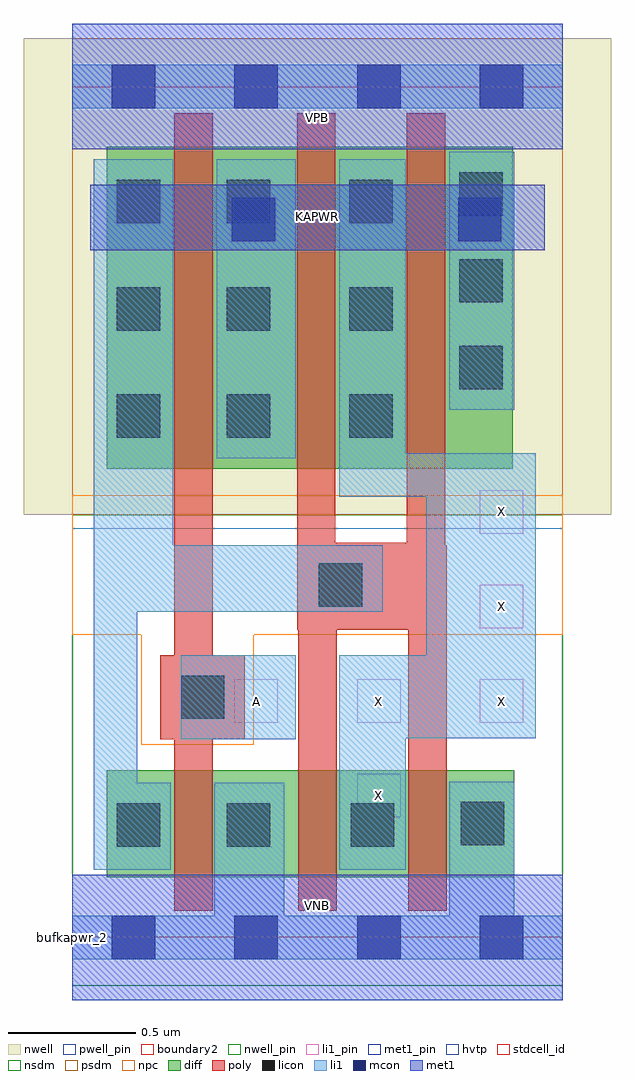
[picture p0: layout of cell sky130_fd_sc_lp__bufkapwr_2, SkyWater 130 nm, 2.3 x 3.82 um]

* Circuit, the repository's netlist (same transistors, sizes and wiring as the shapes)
* Copyright 2020 The SkyWater PDK Authors
*
* Licensed under the Apache License, Version 2.0 (the "License");
* you may not use this file except in compliance with the License.
* You may obtain a copy of the License at
*
*     https://www.apache.org/licenses/LICENSE-2.0
*
* Unless required by applicable law or agreed to in writing, software
* distributed under the License is distributed on an "AS IS" BASIS,
* WITHOUT WARRANTIES OR CONDITIONS OF ANY KIND, either express or implied.
* See the License for the specific language governing permissions and
* limitations under the License.
*
* SPDX-License-Identifier: Apache-2.0

.SUBCKT sky130_fd_sc_lp__bufkapwr_2 A KAPWR VGND VNB VPB VPWR X
*.PININFO A:I KAPWR:I VGND:I VNB:I VPB:I VPWR:I X:O
MMIN0 Ab A VGND VNB sky130_fd_pr__nfet_01v8 m=1 w=0.42U l=0.15U mult=1 sa=0.265
+ sb=0.265 sd=0.28 area=0.063 perim=1.14
MMIN1 X Ab VGND VNB sky130_fd_pr__nfet_01v8 m=2 w=0.42U l=0.15U mult=1 sa=0.265
+ sb=0.265 sd=0.28 area=0.063 perim=1.14
MMIP0 Ab A KAPWR VPB sky130_fd_pr__pfet_01v8_hvt m=1 w=1.26U l=0.15U mult=1 sa=0.265
+ sb=0.265 sd=0.28 area=0.063 perim=1.14
MMIP1 X Ab KAPWR VPB sky130_fd_pr__pfet_01v8_hvt m=2 w=1.26U l=0.15U mult=1 sa=0.265
+ sb=0.265 sd=0.28 area=0.063 perim=1.14
.ENDS sky130_fd_sc_lp__bufkapwr_2

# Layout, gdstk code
import gdstk
lib = gdstk.Library(unit=1e-6, precision=1e-09)
def R(c, l, rs):  # rectangles x0, y0, x1, y1
    for r in rs: c.add(gdstk.rectangle(r[:2], r[2:], *l))
def A(c, l, x, y, w, h, nx, ny, dx, dy):  # array of equal rectangles
    R(c, l, [(x+i*dx, y+j*dy, x+i*dx+w, y+j*dy+h) for i in range(nx) for j in range(ny)])
def P(c, l, *ps):  # polygons
    for p in ps: c.add(gdstk.Polygon(p, *l))
nwell_pin = (64, 16)
nwell = (64, 20)
diff = (65, 20)
poly = (66, 20)
licon = (66, 44)
li1_pin = (67, 16)
li1 = (67, 20)
mcon = (67, 44)
met1_pin = (68, 16)
met1 = (68, 20)
hvtp = (78, 44)
stdcell_id = (81, 4)
nsdm = (93, 44)
psdm = (94, 20)
npc = (95, 20)
pwell_pin = (122, 16)
boundary2 = (236, 0)

sky130_fd_sc_lp__bufkapw = lib.new_cell('sky130_fd_sc_lp__bufkapwr_2')
R(sky130_fd_sc_lp__bufkapw, nwell_pin, [(0,3.085,1.92,3.33)])
R(sky130_fd_sc_lp__bufkapw, nwell, [(-0.19,1.655,2.11,3.52)])
R(sky130_fd_sc_lp__bufkapw, diff, [(0.135,0.235,1.73,0.655), (0.135,1.835,1.725,3.095)])
P(sky130_fd_sc_lp__bufkapw, poly, [(0.675,1.105),(0.55,1.105),(0.55,3.225),(0.4,3.225),(0.4,1.105),(0.345,1.105),(0.345,0.775),(0.4,0.775),(0.4,0.105),(0.55,0.105),(0.55,0.775),(0.675,0.775)],
  [(1.465,1.535),(1.46,1.535),(1.46,3.225),(1.31,3.225),(1.31,1.545),(1.03,1.545),(1.03,3.225),(0.88,3.225),(0.88,1.205),(0.885,1.205),(0.885,0.105),(1.035,0.105),(1.035,1.205),(1.315,1.205),(1.315,0.105),(1.465,0.105)])
A(sky130_fd_sc_lp__bufkapw, licon, 0.175, 1.955, 0.17, 0.17, 1, 3, 0, 0.42)
A(sky130_fd_sc_lp__bufkapw, licon, 0.605, 1.955, 0.17, 0.17, 1, 3, 0, 0.42)
A(sky130_fd_sc_lp__bufkapw, licon, 1.085, 1.955, 0.17, 0.17, 1, 3, 0, 0.42)
A(sky130_fd_sc_lp__bufkapw, licon, 1.515, 2.145, 0.17, 0.17, 1, 3, 0, 0.34)
R(sky130_fd_sc_lp__bufkapw, licon, [(0.175,0.355,0.345,0.525), (0.605,0.355,0.775,0.525), (1.09,0.355,1.26,0.525), (1.52,0.36,1.69,0.53), (0.425,0.855,0.595,1.025), (0.965,1.295,1.135,1.465)])
A(sky130_fd_sc_lp__bufkapw, li1_pin, 0.635, 0.84, 0.17, 0.17, 3, 1, 0.48, 0)
R(sky130_fd_sc_lp__bufkapw, li1_pin, [(1.115,0.47,1.285,0.64), (1.595,1.21,1.765,1.38), (1.595,1.58,1.765,1.75)])
R(sky130_fd_sc_lp__bufkapw, li1, [(0.425,0.775,0.875,1.105), (0.565,1.875,0.875,3.045), (1.475,2.065,1.73,3.075), (0,3.245,1.92,3.415)])
P(sky130_fd_sc_lp__bufkapw, li1, [(1.215,1.535),(0.395,1.535),(0.395,3.045),(0.085,3.045),(0.085,0.265),(0.385,0.265),(0.385,0.605),(0.255,0.605),(0.255,1.275),(1.215,1.275)],
  [(1.815,1.895),(1.305,1.895),(1.305,3.045),(1.045,3.045),(1.045,1.725),(1.385,1.725),(1.385,1.105),(1.045,1.105),(1.045,0.265),(1.305,0.265),(1.305,0.78),(1.815,0.78)],
  [(1.92,0.085),(1.73,0.085),(1.73,0.61),(1.475,0.61),(1.475,0.085),(0.83,0.085),(0.83,0.605),(0.555,0.605),(0.555,0.085),(0,0.085),(0,-0.085),(1.92,-0.085)])
A(sky130_fd_sc_lp__bufkapw, mcon, 0.155, -0.085, 0.17, 0.17, 4, 2, 0.48, 3.33)
R(sky130_fd_sc_lp__bufkapw, mcon, [(0.625,2.725,0.795,2.895), (1.51,2.725,1.68,2.895)])
R(sky130_fd_sc_lp__bufkapw, met1_pin, [(0,0,1.92,0.245), (0.07,2.69,1.85,2.945), (0,3.085,1.92,3.33)])
R(sky130_fd_sc_lp__bufkapw, met1, [(0,-0.245,1.92,0.245), (0.07,2.69,1.85,2.945), (0,3.085,1.92,3.575)])
R(sky130_fd_sc_lp__bufkapw, hvtp, [(0,1.6,1.92,3.33)])
R(sky130_fd_sc_lp__bufkapw, stdcell_id, [(0,0,1.92,3.33)])
R(sky130_fd_sc_lp__bufkapw, nsdm, [(0,-0.19,1.92,1.655)])
R(sky130_fd_sc_lp__bufkapw, psdm, [(0,1.655,1.92,3.52)])
P(sky130_fd_sc_lp__bufkapw, npc, [(1.92,1.73),(0,1.73),(0,1.185),(0.27,1.185),(0.27,0.755),(0.71,0.755),(0.71,1.185),(1.92,1.185)])
R(sky130_fd_sc_lp__bufkapw, pwell_pin, [(0,0,1.92,0.245)])
R(sky130_fd_sc_lp__bufkapw, boundary2, [(0,0,1.92,3.33)])
sky130_fd_sc_lp__bufkapw.add(gdstk.Label('VNB', (0.96,0.123), layer=64, texttype=59))
sky130_fd_sc_lp__bufkapw.add(gdstk.Label('VPB', (0.96,3.208), layer=64, texttype=5))
sky130_fd_sc_lp__bufkapw.add(gdstk.Label('bufkapwr_2', (0,0), layer=83, texttype=44))
sky130_fd_sc_lp__bufkapw.add(gdstk.Label('KAPWR', (0.96,2.82), layer=68, texttype=5))
sky130_fd_sc_lp__bufkapw.add(gdstk.Label('VPWR', (0.96,3.208), layer=68, texttype=5))
sky130_fd_sc_lp__bufkapw.add(gdstk.Label('VGND', (0.96,0.123), layer=68, texttype=5))
sky130_fd_sc_lp__bufkapw.add(gdstk.Label('X', (1.2,0.555), layer=67, texttype=5))
sky130_fd_sc_lp__bufkapw.add(gdstk.Label('A', (0.72,0.925), layer=67, texttype=5))
sky130_fd_sc_lp__bufkapw.add(gdstk.Label('X', (1.2,0.925), layer=67, texttype=5))
sky130_fd_sc_lp__bufkapw.add(gdstk.Label('X', (1.68,1.665), layer=67, texttype=5))
sky130_fd_sc_lp__bufkapw.add(gdstk.Label('X', (1.68,1.295), layer=67, texttype=5))
sky130_fd_sc_lp__bufkapw.add(gdstk.Label('X', (1.68,0.925), layer=67, texttype=5))

lib.write_gds('sky130_fd_sc_lp__bufkapwr_2.gds')
